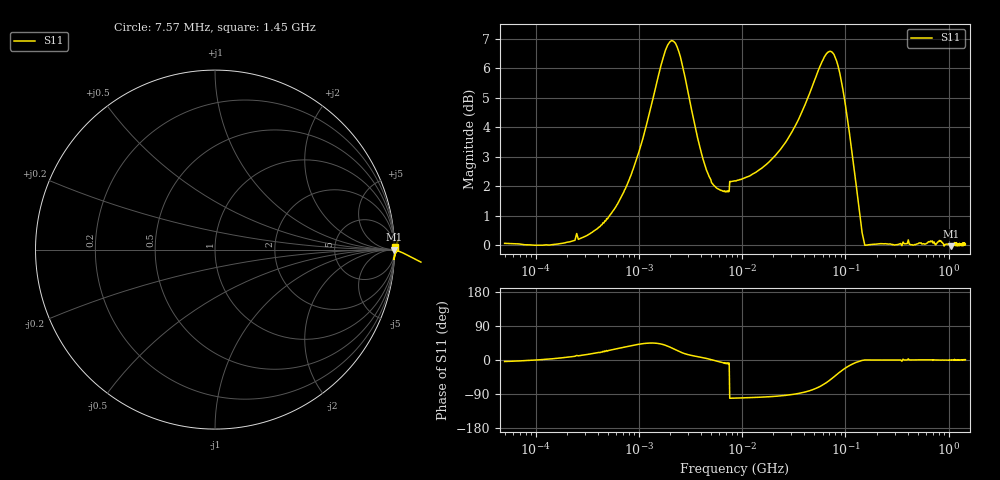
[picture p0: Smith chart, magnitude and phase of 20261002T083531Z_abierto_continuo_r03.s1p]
! piloto_saltos / abierto_continuo / r03
# HZ S RI R 50
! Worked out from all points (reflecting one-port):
!   501 points, 50 kHz to 1.45 GHz, reference 50 ohm
!   lowest |S11| = 0.0 dB at 1.054 GHz (marker M1), VSWR 645.04, Z = 3.08e+04 - j6.7e+03 ohm
!   phase of S11 starts at -4 deg and turns +5 deg over the sweep
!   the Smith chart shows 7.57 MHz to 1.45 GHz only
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50000  1.005 -0.0702
183000  1.003 0.1057
420500  1.014 0.3605
658000  1.02 0.6277
1180000  1.146 1.112
1630000  1.49 1.353
1990000  1.829 1.24
2440000  1.961 0.8183
2890000  1.805 0.4902
3430000  1.589 0.2944
4870000  1.299 0.0427
7300000  1.224 -0.1722
7750000  -0.2409 -1.26
8560000  -0.2357 -1.265
1.81e7  -0.1678 -1.373
3.16e7  -0.0116 -1.577
4.69e7  0.3395 -1.811
6.4e7  1.005 -1.84
7.3e7  1.368 -1.629
8.65e7  1.651 -1.098
9.82e7  1.627 -0.674
1e8  1.61 -0.6197
1.18e8  1.377 -0.2437
1.36e8  1.147 -0.0696
1.63e8  1.001 0.000184
4.06e8  1.02 0.0538
1.054e9  0.9969 -0.000672
1.45e9  1.004 0.015
